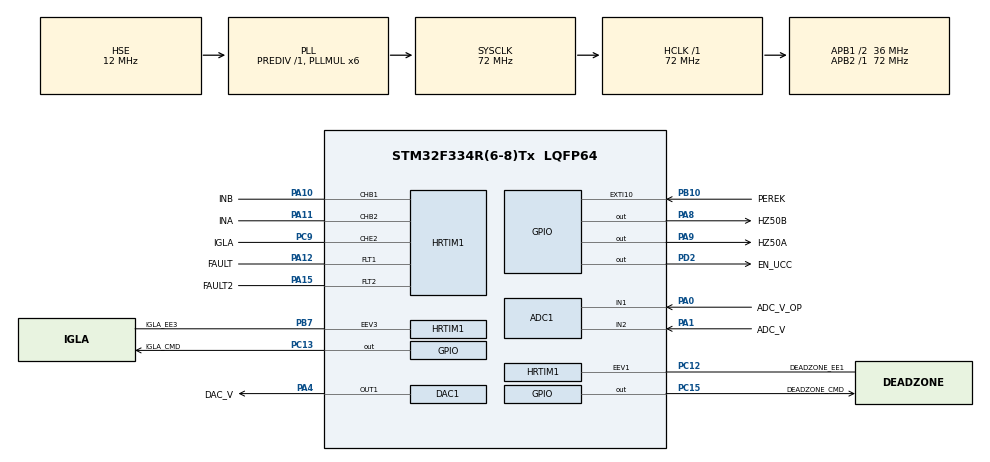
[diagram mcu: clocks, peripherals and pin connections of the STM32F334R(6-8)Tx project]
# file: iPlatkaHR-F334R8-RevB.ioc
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ADC1.AWD2HighThreshold=2000
ADC1.AWD3HighThreshold=3800
ADC1.AWD3ITMode=ENABLE
ADC1.ContinuousConvMode=ENABLE
ADC1.DMAContinuousRequests=ENABLE
ADC1.EOCSelection=ADC_EOC_SEQ_CONV
ADC1.EnableAnalogWatchDog1=false
ADC1.EnableAnalogWatchDog2=true
ADC1.EnableAnalogWatchDog3=true
ADC1.EnableRegularConversion=DISABLE
ADC1.ExternalTrigInjecConv=ADC_EXTERNALTRIGINJECCONV_HRTIM_TRG2
ADC1.InjAWDChannel-1\#ChannelInjectedConversion=ADC_CHANNEL_1
ADC1.InjAWDChannel-2\#ChannelInjectedConversion=ADC_CHANNEL_1
ADC1.InjMonitoredBy-1\#ChannelInjectedConversion=ADC_ANALOGWATCHDOG_2
ADC1.InjMonitoredBy-2\#ChannelInjectedConversion=ADC_ANALOGWATCHDOG_3
ADC1.InjNumberOfConversion=2
ADC1.InjectedChannel-1\#ChannelInjectedConversion=ADC_CHANNEL_1
ADC1.InjectedChannel-2\#ChannelInjectedConversion=ADC_CHANNEL_1
ADC1.InjectedOffset-1\#ChannelInjectedConversion=0
ADC1.InjectedOffset-2\#ChannelInjectedConversion=0
ADC1.InjectedOffsetNumber-1\#ChannelInjectedConversion=ADC_OFFSET_NONE
ADC1.InjectedOffsetNumber-2\#ChannelInjectedConversion=ADC_OFFSET_NONE
ADC1.InjectedRank-1\#ChannelInjectedConversion=1
ADC1.InjectedRank-2\#ChannelInjectedConversion=2
ADC1.InjectedSamplingTime-1\#ChannelInjectedConversion=ADC_SAMPLETIME_19CYCLES_5
ADC1.InjectedSamplingTime-2\#ChannelInjectedConversion=ADC_SAMPLETIME_19CYCLES_5
ADC1.SubFamily=STM32F334x8
ADC1.master=1
DAC1.DAC_Trigger=DAC_TRIGGER_NONE
Dma.ADC1.0.Direction=DMA_PERIPH_TO_MEMORY
Dma.ADC1.0.Instance=DMA1_Channel1
Dma.ADC1.0.MemDataAlignment=DMA_MDATAALIGN_HALFWORD
Dma.ADC1.0.MemInc=DMA_MINC_ENABLE
Dma.ADC1.0.Mode=DMA_CIRCULAR
Dma.ADC1.0.PeriphDataAlignment=DMA_PDATAALIGN_HALFWORD
Dma.ADC1.0.PeriphInc=DMA_PINC_DISABLE
Dma.ADC1.0.Priority=DMA_PRIORITY_VERY_HIGH
Dma.Request0=ADC1
HRTIM1.ADCTrigger2_Source1=HRTIM_ADCTRIGGEREVENT24_TIMERC_CMP3
HRTIM1.ADCTrigger2_Source2=HRTIM_ADCTRIGGEREVENT24_NONE
HRTIM1.ADCTrigger_Id2=HRTIM_ADCTRIGGER_2
HRTIM1.CompareUnit1-MasterTimer=HRTIM_COMPAREUNIT_1
HRTIM1.CompareUnit1-No_output_TC=HRTIM_COMPAREUNIT_1
HRTIM1.CompareUnit1-Output_TB1TB2=HRTIM_COMPAREUNIT_1
HRTIM1.CompareUnit2-MasterTimer=HRTIM_COMPAREUNIT_2
HRTIM1.CompareUnit2-No_output_TC=HRTIM_COMPAREUNIT_2
HRTIM1.CompareUnit2-Output_TB1TB2=HRTIM_COMPAREUNIT_2
HRTIM1.CompareUnit3-MasterTimer=HRTIM_COMPAREUNIT_3
HRTIM1.CompareUnit3-No_output_TC=HRTIM_COMPAREUNIT_3
HRTIM1.CompareUnit3-Output_TB1TB2=__NULL
HRTIM1.CompareUnit4-MasterTimer=HRTIM_COMPAREUNIT_4
HRTIM1.CompareUnit4-No_output_TC=HRTIM_COMPAREUNIT_4
HRTIM1.CompareUnit4-Output_TB1TB2=__NULL
HRTIM1.CompareValue1-MasterTimer=2304
HRTIM1.CompareValue1-No_output_TC=20737
HRTIM1.CompareValue1-Output_TB1TB2=25345
HRTIM1.CompareValue2-MasterTimer=25345
HRTIM1.CompareValue2-No_output_TC=46082
HRTIM1.CompareValue2-Output_TB1TB2=50690
HRTIM1.CompareValue3-MasterTimer=27649
HRTIM1.CompareValue3-No_output_TC=4608
HRTIM1.CompareValue3-Output_TB1TB2=50690
HRTIM1.CompareValue4-MasterTimer=50690
HRTIM1.CompareValue4-No_output_TC=29953
HRTIM1.CompareValue4-Output_TB1TB2=50690
HRTIM1.DACSynchro-MasterTimer=HRTIM_DACSYNC_NONE
HRTIM1.DACSynchro-Output_TB1TB2=HRTIM_DACSYNC_NONE
HRTIM1.EnableCalibration=DLLSimpleCalibration
HRTIM1.Event_EEV2=HRTIM_EVENT_2
HRTIM1.Event_EEV4=__NULL
HRTIM1.Event_EEV5=__NULL
HRTIM1.Event_EEV6=__NULL
HRTIM1.Event_EEV7=__NULL
HRTIM1.Event_EEV8=__NULL
HRTIM1.Event_EEV9=__NULL
HRTIM1.FastMode_EEV1=HRTIM_EVENTFASTMODE_ENABLE
HRTIM1.FastMode_EEV2=HRTIM_EVENTFASTMODE_ENABLE
HRTIM1.FastMode_EEV3=HRTIM_EVENTFASTMODE_ENABLE
HRTIM1.FaultEnable_Source1-No_output_TC=HRTIM_TIMFAULTENABLE_FAULT1
HRTIM1.FaultEnable_Source1-Output_TB1TB2=HRTIM_TIMFAULTENABLE_FAULT1
HRTIM1.FaultEnable_Source1-Output_TE2=HRTIM_TIMFAULTENABLE_FAULT1
HRTIM1.FaultEnable_Source2-No_output_TC=HRTIM_TIMFAULTENABLE_FAULT2
HRTIM1.FaultEnable_Source2-Output_TB1TB2=HRTIM_TIMFAULTENABLE_FAULT2
HRTIM1.FaultEnable_Source2-Output_TE2=HRTIM_TIMFAULTENABLE_FAULT2
HRTIM1.FaultLevel1-Output_TB1TB2=HRTIM_OUTPUTFAULTLEVEL_INACTIVE
HRTIM1.FaultLevel2-Output_TB1TB2=HRTIM_OUTPUTFAULTLEVEL_INACTIVE
HRTIM1.FaultLevel2-Output_TE2=HRTIM_OUTPUTFAULTLEVEL_INACTIVE
HRTIM1.Filter_FaultLine1=HRTIM_FAULTFILTER_15
HRTIM1.Filter_FaultLine2=HRTIM_FAULTFILTER_15
HRTIM1.HRTIMInterruptResquests1=HRTIM_IT_FLT1
HRTIM1.HRTIMInterruptResquests2=HRTIM_IT_SYSFLT
HRTIM1.InterruptRequests1-No_output_TC=HRTIM_TIM_IT_CMP1
HRTIM1.InterruptRequests1-Output_TB1TB2=HRTIM_TIM_IT_NONE
HRTIM1.InterruptRequests1_Master=HRTIM_MASTER_IT_MREP
HRTIM1.InterruptRequests2-No_output_TC=HRTIM_TIM_IT_CMP2
HRTIM1.InterruptRequests2-Output_TB1TB2=HRTIM_TIM_IT_NONE
HRTIM1.ModeTimeBase-MasterTimer=HRTIM_MODE_CONTINUOUS
HRTIM1.ModeTimeBase-No_output_TC=HRTIM_MODE_SINGLESHOT_RETRIGGERABLE
HRTIM1.ModeTimeBase-Output_TB1TB2=HRTIM_MODE_SINGLESHOT_RETRIGGERABLE
HRTIM1.ModeTimeBase-Output_TE2=HRTIM_MODE_SINGLESHOT_RETRIGGERABLE
HRTIM1.NumberADCTriggerSource2=1
HRTIM1.NumberFaultEnable-No_output_TC=2
HRTIM1.NumberFaultEnable-Output_TB1TB2=2
HRTIM1.NumberFaultEnable-Output_TE2=2
HRTIM1.NumberInterruptRequests-No_output_TC=2
HRTIM1.NumberInterruptRequests-Output_TB1TB2=0
HRTIM1.NumberInterruptRequests_Master-MasterTimer=1
HRTIM1.NumberResetSource1-Output_TB1TB2=5
HRTIM1.NumberResetSource2-Output_TE2=1
HRTIM1.NumberResetSource2_TB=3
HRTIM1.NumberResetTrigger-No_output_TC=1
HRTIM1.NumberResetTrigger-Output_TB1TB2=1
HRTIM1.NumberResetTrigger-Output_TE2=1
HRTIM1.NumberSetSource1-Output_TB1TB2=1
HRTIM1.NumberSetSource2-Output_TE2=2
HRTIM1.NumberSetSource2_TB=1
HRTIM1.NumberUpdateTrigger-No_output_TC=1
HRTIM1.NumberUpdateTrigger-Output_TB1TB2=1
HRTIM1.NumberUpdateTrigger-Output_TE2=1
HRTIM1.ORingUpdateSource_ADCTrigger2=HRTIM_ADCTRIGGERUPDATE_TIMER_C
HRTIM1.Periode_MASTER=50690
HRTIM1.Periode_TB=50690
HRTIM1.Periode_TC=50690
HRTIM1.Periode_TE=50690
HRTIM1.Polarity2-Output_TE2=HRTIM_OUTPUTPOLARITY_LOW
HRTIM1.Polarity_EEV1=HRTIM_EVENTPOLARITY_LOW
HRTIM1.Polarity_FaultLine1=HRTIM_FAULTPOLARITY_HIGH
HRTIM1.PreloadEnable-MasterTimer=HRTIM_PRELOAD_ENABLED
HRTIM1.PreloadEnable-No_output_TC=HRTIM_PRELOAD_ENABLED
HRTIM1.PrescalerRatio_MASTER=HRTIM_PRESCALERRATIO_MUL16
HRTIM1.PrescalerRatio_TB=HRTIM_PRESCALERRATIO_MUL16
HRTIM1.PrescalerRatio_TC=HRTIM_PRESCALERRATIO_MUL16
HRTIM1.PrescalerRatio_TE=HRTIM_PRESCALERRATIO_MUL16
HRTIM1.RepetitionCounter-MasterTimer=0
HRTIM1.RepetitionCounter-Output_TB1TB2=0
HRTIM1.RepetitionUpdate-MasterTimer=HRTIM_UPDATEONREPETITION_ENABLED
HRTIM1.RepetitionUpdate-No_output_TC=HRTIM_UPDATEONREPETITION_ENABLED
HRTIM1.RepetitionUpdate-Output_TB1TB2=HRTIM_UPDATEONREPETITION_ENABLED
HRTIM1.RepetitionUpdate-Output_TE2=HRTIM_UPDATEONREPETITION_ENABLED
HRTIM1.ResetOutput1_Source1-Output_TB1TB2=HRTIM_OUTPUTRESET_MASTERCMP2
HRTIM1.ResetOutput1_Source2-Output_TB1TB2=HRTIM_OUTPUTRESET_MASTERCMP3
HRTIM1.ResetOutput1_Source3-Output_TB1TB2=HRTIM_OUTPUTRESET_MASTERCMP4
HRTIM1.ResetOutput1_Source4-Output_TB1TB2=HRTIM_OUTPUTRESET_EEV_1
HRTIM1.ResetOutput1_Source5-Output_TB1TB2=HRTIM_OUTPUTRESET_TIMCMP1
HRTIM1.ResetOutput2_Source1-Output_TB1TB2=HRTIM_OUTPUTRESET_MASTERCMP4
HRTIM1.ResetOutput2_Source1-Output_TE2=HRTIM_OUTPUTRESET_MASTERCMP4
HRTIM1.ResetOutput2_Source2-Output_TB1TB2=HRTIM_OUTPUTRESET_EEV_1
HRTIM1.ResetOutput2_Source3-Output_TB1TB2=HRTIM_OUTPUTRESET_TIMCMP2
HRTIM1.ResetTrigger1-No_output_TC=HRTIM_TIMRESETTRIGGER_MASTER_PER
HRTIM1.ResetTrigger1-Output_TB1TB2=HRTIM_TIMRESETTRIGGER_MASTER_PER
HRTIM1.ResetTrigger1-Output_TE2=HRTIM_TIMRESETTRIGGER_MASTER_PER
HRTIM1.ResetUpdate-No_output_TC=HRTIM_TIMUPDATEONRESET_ENABLED
HRTIM1.ResetUpdate-Output_TB1TB2=HRTIM_TIMUPDATEONRESET_ENABLED
HRTIM1.ResetUpdate-Output_TE2=HRTIM_TIMUPDATEONRESET_ENABLED
HRTIM1.SetOutput1_Source1-Output_TB1TB2=HRTIM_OUTPUTSET_MASTERCMP1
HRTIM1.SetOutput2_Source1-Output_TB1TB2=HRTIM_OUTPUTSET_MASTERCMP3
HRTIM1.SetOutput2_Source1-Output_TE2=HRTIM_OUTPUTSET_EEV_3
HRTIM1.SetOutput2_Source2-Output_TE2=HRTIM_OUTPUTSET_EEV_2
HRTIM1.Source_EEV2=HRTIM_EVENTSRC_4
HRTIM1.SyncOptions=HRTIM_SYNCOPTION_NONE
HRTIM1.UpdateTrigger1-No_output_TC=HRTIM_TIMUPDATETRIGGER_MASTER
HRTIM1.UpdateTrigger1-Output_TB1TB2=HRTIM_TIMUPDATETRIGGER_MASTER
HRTIM1.UpdateTrigger1-Output_TE2=HRTIM_TIMUPDATETRIGGER_MASTER
Mcu.Family=STM32F3
Mcu.Name=STM32F334R(6-8)Tx
Mcu.Package=LQFP64
NVIC.DMA1_Channel1_IRQn=true\:0\:0\:false\:false\:true\:false\:true
NVIC.EXTI15_10_IRQn=true\:0\:0\:false\:false\:true\:true\:true
NVIC.HRTIM1_FLT_IRQn=true\:0\:0\:false\:false\:true\:true\:true
NVIC.HRTIM1_Master_IRQn=true\:0\:0\:false\:false\:true\:true\:true
NVIC.HRTIM1_TIMC_IRQn=true\:0\:0\:false\:false\:true\:true\:true
NVIC.PriorityGroup=NVIC_PRIORITYGROUP_4
PA0.GPIO_Label=ADC_V_OP
PA0.Mode=IN1-Single-Ended
PA0.Signal=ADC1_IN1
PA1.GPIO_Label=ADC_V
PA1.Mode=IN2-Single-Ended
PA1.Signal=ADC1_IN2
PA10.GPIO_Label=INB
PA10.Mode=Output_TB1TB2
PA10.Signal=HRTIM1_CHB1
PA11.GPIO_Label=INA
PA11.Mode=Output_TB1TB2
PA11.Signal=HRTIM1_CHB2
PA12.GPIO_Label=FAULT
PA12.Mode=Fault_Enable1
PA12.Signal=HRTIM1_FLT1
PA13.GPIO_Label=DIO
PA13.Mode=Serial_Wire
PA13.Signal=SYS_JTMS-SWDIO
PA14.GPIO_Label=CLK
PA14.Mode=Serial_Wire
PA14.Signal=SYS_JTCK-SWCLK
PA15.GPIO_Label=FAULT2
PA15.Mode=Fault_Enable2
PA15.Signal=HRTIM1_FLT2
PA4.GPIO_Label=DAC_V
PA4.Signal=COMP_DAC11_group
PA8.GPIO_Label=HZ50B
PA8.GPIO_Speed=GPIO_SPEED_FREQ_HIGH
PA8.Signal=GPIO_Output
PA9.GPIO_Label=HZ50A
PA9.GPIO_Speed=GPIO_SPEED_FREQ_HIGH
PA9.Signal=GPIO_Output
PB10.GPIO_Label=PEREK
PB10.GPIO_ModeDefaultEXTI=GPIO_MODE_IT_RISING_FALLING
PB10.Signal=GPXTI10
PB7.GPIO_Label=IGLA_EE3
PB7.Mode=External_Evt_enable13
PB7.Signal=HRTIM1_EEV3
PC12.GPIO_Label=DEADZONE_EE1
PC12.Mode=External_Evt_enable1
PC12.Signal=HRTIM1_EEV1
PC13.GPIO_Label=IGLA_CMD
PC13.Signal=GPIO_Output
PC15\ /\ OSC32_OUT.GPIO_Label=DEADZONE_CMD
PC15\ /\ OSC32_OUT.GPIO_Speed=GPIO_SPEED_FREQ_HIGH
PC15\ /\ OSC32_OUT.PinState=GPIO_PIN_RESET
PC15\ /\ OSC32_OUT.Signal=GPIO_Output
PC9.GPIO_Label=IGLA
PC9.Mode=Output_TE2
PC9.Signal=HRTIM1_CHE2
PD2.GPIO_Label=EN_UCC
PD2.GPIO_Speed=GPIO_SPEED_FREQ_HIGH
PD2.Signal=GPIO_Output
PF0\ /\ OSC_IN.GPIO_Label=OSC_IN
PF0\ /\ OSC_IN.Mode=HSE-External-Oscillator
PF0\ /\ OSC_IN.Signal=RCC_OSC_IN
PF1\ /\ OSC_OUT.GPIO_Label=OSC_OUT
PF1\ /\ OSC_OUT.Mode=HSE-External-Oscillator
PF1\ /\ OSC_OUT.Signal=RCC_OSC_OUT
ProjectManager.HeapSize=0x200
ProjectManager.StackSize=0x400
ProjectManager.TargetToolchain=STM32CubeIDE
RCC.AHBFreq_Value=72000000
RCC.APB1CLKDivider=RCC_HCLK_DIV2
RCC.APB1Freq_Value=36000000
RCC.APB1TimFreq_Value=72000000
RCC.APB2Freq_Value=72000000
RCC.APB2TimFreq_Value=72000000
RCC.CortexFreq_Value=72000000
RCC.HCLKFreq_Value=72000000
RCC.HRTIMSelection=RCC_HRTIM1CLK_PLLCLK
RCC.HSE_VALUE=12000000
RCC.HSI_VALUE=8000000
RCC.LSE_VALUE=32768
RCC.PLLMUL=RCC_PLL_MUL6
RCC.PLLSourceVirtual=RCC_PLLSOURCE_HSE
RCC.SYSCLKFreq_VALUE=72000000
RCC.SYSCLKSourceVirtual=RCC_SYSCLKSOURCE_PLLCLK
RCC.TIM1Selection=RCC_TIM1CLK_PLLCLK
SH.COMP_DAC11_group.0=DAC1_OUT1,DAC_OUT1
VP_HRTIM1_VS_hrtimMasterTimerNoOutput.Mode=MasterTimer
VP_HRTIM1_VS_hrtimTimerCNoOutput.Mode=No_output_TC
board=custom

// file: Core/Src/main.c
/* USER CODE BEGIN Header */
/**
  ******************************************************************************
  * @file           : main.c
  * @brief          : Main program body
  ******************************************************************************
  * @attention
  *
  * <h2><center>&copy; Copyright (c) 2020 STMicroelectronics.
  * All rights reserved.</center></h2>
  *
  * This software component is licensed by ST under BSD 3-Clause license,
  * the "License"; You may not use this file except in compliance with the
  * License. You may obtain a copy of the License at:
  *                        opensource.org/licenses/BSD-3-Clause
  *
  ******************************************************************************
  */
/* USER CODE END Header */

#include "main.h"
#include "adc.h"
#include "dac.h"
#include "dma.h"
#include "hrtim.h"
#include "gpio.h"

/* USER CODE BEGIN PTD */
#define PULSE_TOTAL_LENGTH 25345
#define PULSE_DEATHTIME 2304
#define PULSE_LENGTH 23041

#define SOFTSTART_STEP 1
#define SOFTSTART_STEP_MAX 100

#define VOLUME_MAX 100

#define HZ50_AB 225
#define HZ50_DEADZONE 5

#define SIN_ZER0 2
#define PULSE_IN_WAVE 450
#define PULSE_IN_DEATHZONE 5

#define DAC_PULSE_CNT 910//(uint16_t) (2*PULSE_IN_WAVE+2*PULSE_IN_DEATHZONE)

#define MAX_SIN_TABLE_VALUE 3500

enum HZ_State{AZone1, AZone2, BZone1, BZone2, DeadZoneAB, DeadZoneBA};
/* USER CODE END PTD */

/* USER CODE BEGIN PV */
uint8_t UseVolume=0;
uint8_t Volume_Coeff=0;

uint8_t UseSoftStart=0;
uint8_t SoftStart_Coeff=0;

uint32_t tmp_etalon=0;
uint32_t tmp_orig=0;
uint32_t tmp_etalon_amplitude=MAX_SIN_TABLE_VALUE;
uint32_t tmp_pulse=0;

enum HZ_State HZ50_State=AZone1;

uint16_t Sin_Step=0;

uint16_t Sin_Etalon[DAC_PULSE_CNT]={0, 12, 24, 37, 49, 61, 73, 86, 98, 110, 122, 134, 147, 159, 171, 183, 195,
		208, 220, 232, 244, 256, 269, 281, 293, 305, 317, 329, 342, 354, 366, 378, 390, 402, 414, 427, 439,
		451, 463, 475, 487, 499, 511, 523, 535, 548, 560, 572, 584, 596, 608, 620, 632, 644, 656, 668, 680,
		692, 704, 716, 728, 740, 752, 764, 775, 787, 799, 811, 823, 835, 847, 859, 870, 882, 894, 906, 918,
		929, 941, 953, 965, 976, 988, 1000, 1012, 1023, 1035, 1047, 1058, 1070, 1082, 1093, 1105, 1116, 1128,
		1139, 1151, 1163, 1174, 1186, 1197, 1209, 1220, 1231, 1243, 1254, 1266, 1277, 1288, 1300, 1311, 1322,
		1334, 1345, 1356, 1368, 1379, 1390, 1401, 1412, 1424, 1435, 1446, 1457, 1468, 1479, 1490, 1501, 1512,
		1523, 1534, 1545, 1556, 1567, 1578, 1589, 1600, 1611, 1622, 1632, 1643, 1654, 1665, 1675, 1686, 1697,
		1708, 1718, 1729, 1739, 1750, 1761, 1771, 1782, 1792, 1803, 1813, 1824, 1834, 1844, 1855, 1865, 1875,
		1886, 1896, 1906, 1916, 1927, 1937, 1947, 1957, 1967, 1977, 1987, 1997, 2008, 2018, 2027, 2037, 2047,
		2057, 2067, 2077, 2087, 2097, 2106, 2116, 2126, 2136, 2145, 2155, 2164, 2174, 2184, 2193, 2203, 2212,
		2222, 2231, 2240, 2250, 2259, 2268, 2278, 2287, 2296, 2305, 2315, 2324, 2333, 2342, 2351, 2360, 2369,
		2378, 2387, 2396, 2405, 2414, 2423, 2431, 2440, 2449, 2458, 2466, 2475, 2483, 2492, 2501, 2509, 2518,
		2526, 2535, 2543, 2551, 2560, 2568, 2576, 2585, 2593, 2601, 2609, 2617, 2625, 2633, 2641, 2649, 2657,
		2665, 2673, 2681, 2689, 2697, 2705, 2712, 2720, 2728, 2735, 2743, 2750, 2758, 2766, 2773, 2780, 2788,
		2795, 2803, 2810, 2817, 2824, 2832, 2839, 2846, 2853, 2860, 2867, 2874, 2881, 2888, 2895, 2902, 2908,
		2915, 2922, 2929, 2935, 2942, 2949, 2955, 2962, 2968, 2975, 2981, 2987, 2994, 3000, 3006, 3013, 3019,
		3025, 3031, 3037, 3043, 3049, 3055, 3061, 3067, 3073, 3079, 3085, 3090, 3096, 3102, 3107, 3113, 3119,
		3124, 3130, 3135, 3140, 3146, 3151, 3156, 3162, 3167, 3172, 3177, 3182, 3187, 3192, 3197, 3202, 3207,
		3212, 3217, 3222, 3227, 3231, 3236, 3241, 3245, 3250, 3254, 3259, 3263, 3268, 3272, 3276, 3280, 3285,
		3289, 3293, 3297, 3301, 3305, 3309, 3313, 3317, 3321, 3325, 3329, 3332, 3336, 3340, 3343, 3347, 3351,
		3354, 3358, 3361, 3364, 3368, 3371, 3374, 3378, 3381, 3384, 3387, 3390, 3393, 3396, 3399, 3402, 3405,
		3408, 3410, 3413, 3416, 3418, 3421, 3424, 3426, 3429, 3431, 3433, 3436, 3438, 3440, 3443, 3445, 3447,
		3449, 3451, 3453, 3455, 3457, 3459, 3461, 3462, 3464, 3466, 3468, 3469, 3471, 3472, 3474, 3475, 3477,
		3478, 3480, 3481, 3482, 3483, 3484, 3486, 3487, 3488, 3489, 3490, 3491, 3491, 3492, 3493, 3494, 3495,
		3495, 3496, 3496, 3497, 3497, 3498, 3498, 3499, 3499, 3499, 3499, 3500, 3500, 3500, 3500, 3500, 3500,
		3500, 3500, 3500, 3499, 3499, 3499, 3499, 3498, 3498, 3497, 3497, 3496, 3496, 3495, 3495, 3494, 3493,
		3492, 3491, 3491, 3490, 3489, 3488, 3487, 3486, 3484, 3483, 3482, 3481, 3480, 3478, 3477, 3475, 3474,
		3472, 3471, 3469, 3468, 3466, 3464, 3462, 3461, 3459, 3457, 3455, 3453, 3451, 3449, 3447, 3445, 3443,
		3440, 3438, 3436, 3433, 3431, 3429, 3426, 3424, 3421, 3418, 3416, 3413, 3410, 3408, 3405, 3402, 3399,
		3396, 3393, 3390, 3387, 3384, 3381, 3378, 3374, 3371, 3368, 3364, 3361, 3358, 3354, 3351, 3347, 3343,
		3340, 3336, 3332, 3329, 3325, 3321, 3317, 3313, 3309, 3305, 3301, 3297, 3293, 3289, 3285, 3280, 3276,
		3272, 3268, 3263, 3259, 3254, 3250, 3245, 3241, 3236, 3231, 3227, 3222, 3217, 3212, 3207, 3202, 3197,
		3192, 3187, 3182, 3177, 3172, 3167, 3162, 3156, 3151, 3146, 3140, 3135, 3130, 3124, 3119, 3113, 3107,
		3102, 3096, 3090, 3085, 3079, 3073, 3067, 3061, 3055, 3049, 3043, 3037, 3031, 3025, 3019, 3013, 3006,
		3000, 2994, 2987, 2981, 2975, 2968, 2962, 2955, 2949, 2942, 2935, 2929, 2922, 2915, 2908, 2902, 2895,
		2888, 2881, 2874, 2867, 2860, 2853, 2846, 2839, 2832, 2824, 2817, 2810, 2803, 2795, 2788, 2780, 2773,
		2766, 2758, 2750, 2743, 2735, 2728, 2720, 2712, 2705, 2697, 2689, 2681, 2673, 2665, 2657, 2649, 2641,
		2633, 2625, 2617, 2609, 2601, 2593, 2585, 2576, 2568, 2560, 2551, 2543, 2535, 2526, 2518, 2509, 2501,
		2492, 2483, 2475, 2466, 2458, 2449, 2440, 2431, 2423, 2414, 2405, 2396, 2387, 2378, 2369, 2360, 2351,
		2342, 2333, 2324, 2315, 2305, 2296, 2287, 2278, 2268, 2259, 2250, 2240, 2231, 2222, 2212, 2203, 2193,
		2184, 2174, 2164, 2155, 2145, 2136, 2126, 2116, 2106, 2097, 2087, 2077, 2067, 2057, 2047, 2037, 2027,
		2018, 2008, 1997, 1987, 1977, 1967, 1957, 1947, 1937, 1927, 1916, 1906, 1896, 1886, 1875, 1865, 1855,
		1844, 1834, 1824, 1813, 1803, 1792, 1782, 1771, 1761, 1750, 1739, 1729, 1718, 1708, 1697, 1686, 1675,
		1665, 1654, 1643, 1632, 1622, 1611, 1600, 1589, 1578, 1567, 1556, 1545, 1534, 1523, 1512, 1501, 1490,
		1479, 1468, 1457, 1446, 1435, 1424, 1412, 1401, 1390, 1379, 1368, 1356, 1345, 1334, 1322, 1311, 1300,
		1288, 1277, 1266, 1254, 1243, 1231, 1220, 1209, 1197, 1186, 1174, 1163, 1151, 1139, 1128, 1116, 1105,
		1093, 1082, 1070, 1058, 1047, 1035, 1023, 1012, 1000, 988, 976, 965, 953, 941, 929, 918, 906, 894, 882,
		870, 859, 847, 835, 823, 811, 799, 787, 775, 764, 752, 740, 728, 716, 704, 692, 680, 668, 656, 644, 632,
		620, 608, 596, 584, 572, 560, 548, 535, 523, 511, 499, 487, 475, 463, 451, 439, 427, 414, 402, 390, 378,
		366, 354, 342, 329, 317, 305, 293, 281, 269, 256, 244, 232, 220, 208, 195, 183, 171, 159, 147, 134, 122,
		110, 98, 86, 73, 61, 49, 37, 24, 12, 0, 0, 0 ,0 ,0 ,0 ,0 ,0 ,0 ,0};

uint16_t ADC_V_op_data=0;
uint16_t ADC_V_data=0;

/* USER CODE END PV */

void SystemClock_Config(void);

/* USER CODE BEGIN 0 */

void SetMaxVolume(void)
{
	UseVolume=1;
	Volume_Coeff=VOLUME_MAX;
}

void PlusVolume(void)
{
	UseVolume=1;
	Volume_Coeff=Volume_Coeff+1;
	if (Volume_Coeff>VOLUME_MAX) {
		Volume_Coeff=VOLUME_MAX;
	}
}

void MinusVolume(void)
{
	if (UseVolume==1) {
		if (Volume_Coeff==0) {
			UseVolume=0;
		} else {
			Volume_Coeff--;
		}
	}
}

void CheckSoftStart(void)
{
	if (UseSoftStart==1) {
			SoftStart_Coeff=SoftStart_Coeff+SOFTSTART_STEP;
			if (SoftStart_Coeff>=SOFTSTART_STEP_MAX) {
				UseSoftStart=0;
				SoftStart_Coeff=0;
			}
	}
}

void DAC_V(void)
{
	if (Sin_Step>=DAC_PULSE_CNT) {
		Sin_Step=1;
	}

	tmp_orig=Sin_Etalon[Sin_Step-1];
	tmp_etalon=tmp_orig;
	tmp_etalon_amplitude=MAX_SIN_TABLE_VALUE;

	if (UseSoftStart==1) {
		tmp_etalon=(tmp_etalon*SoftStart_Coeff)/SOFTSTART_STEP_MAX;
		tmp_etalon_amplitude=(tmp_etalon_amplitude*SoftStart_Coeff)/SOFTSTART_STEP_MAX;
	}

	if (UseVolume==1) {
		tmp_etalon=(tmp_etalon*(Volume_Coeff+VOLUME_MAX))/VOLUME_MAX;
		if (tmp_etalon>=MAX_SIN_TABLE_VALUE) {
			tmp_etalon=MAX_SIN_TABLE_VALUE;
		}

		tmp_etalon_amplitude=(tmp_etalon_amplitude*(Volume_Coeff+VOLUME_MAX))/VOLUME_MAX;
	}

	if ((UseSoftStart==1) || (UseVolume==1)) {
		if (tmp_etalon_amplitude>=MAX_SIN_TABLE_VALUE) {
			tmp_etalon_amplitude=MAX_SIN_TABLE_VALUE;
		}
	}

	HAL_DAC_SetValue(&hdac1,DAC_CHANNEL_1,DAC_ALIGN_12B_R,tmp_etalon);
}

void IGLAflagSET(void)
{
	GPIOC->BRR = GPIO_BRR_BR_13;
}

void IGLAflagRESET(void)
{
	GPIOC->BSRR = GPIO_BSRR_BS_13;
}

void DEADZONEflagRESET(void)
{
	GPIOC->BSRR = GPIO_BSRR_BS_15;
}

void DEADZONEflagSET(void)
{
	GPIOC->BRR = GPIO_BRR_BR_15;
}

void UCCdrvOFF(void)
{
	GPIOD->BRR = GPIO_BRR_BR_2;
}

void UCCdrvON(void)
{
	GPIOD->BSRR = GPIO_BSRR_BS_2;
}

void OutputOFF(void)
{
	HRTIM1->sCommonRegs.ODISR = HRTIM_ODISR_TB1ODIS  + HRTIM_ODISR_TB2ODIS;
	HRTIM1->sCommonRegs.OENR = HRTIM_OENR_TE2OEN;

}

void OutputON(void)
{
	HRTIM1->sCommonRegs.OENR = HRTIM_OENR_TB1OEN  + HRTIM_OENR_TB2OEN + HRTIM_OENR_TE2OEN;
}

void HZ50_OFF(void)
{
	 GPIOA->BRR = GPIO_BRR_BR_8;
	 GPIOA->BRR = GPIO_BRR_BR_9;
}

void HZ50_BON(void)
{
	 GPIOA->BRR = GPIO_BRR_BR_8;
	 GPIOA->BSRR = GPIO_BSRR_BS_9;
}

void HZ50_AON(void)
{
	 GPIOA->BRR = GPIO_BRR_BR_9;
	 GPIOA->BSRR = GPIO_BSRR_BS_8;
}

void HZ50_Stop(void) {
	HZ50_OFF();

	//
	UCCdrvOFF();

	DEADZONEflagSET();

	OutputOFF();
	HAL_HRTIM_WaveformCountStop_IT(&hhrtim1, HRTIM_TIMERID_MASTER | HRTIM_TIMERID_TIMER_B
			| HRTIM_TIMERID_TIMER_E | HRTIM_TIMERID_TIMER_C );

	IGLAflagRESET(); // off IGLA

	Sin_Step=0;
	DAC_V();

	UseSoftStart=0;
}

void HZ50_Start(void)
{
	  Sin_Step=0;
	  DAC_V();

	  HZ50_State=DeadZoneBA; // curr zone

	  HAL_HRTIM_RepetitionEventCallback(&hhrtim1,HRTIM_TIMERINDEX_MASTER);

	  HAL_HRTIM_WaveformCountStart_IT(&hhrtim1, HRTIM_TIMERID_MASTER | HRTIM_TIMERID_TIMER_B
			  | HRTIM_TIMERID_TIMER_E | HRTIM_TIMERID_TIMER_C);

	  UCCdrvON();
	  DEADZONEflagRESET();

	  IGLAflagRESET(); // off IGLA
}

void HAL_GPIO_EXTI_Callback(uint16_t GPIO_Pin)
{
	if(GPIO_Pin== PEREK_Pin) {
		__HAL_GPIO_EXTI_CLEAR_IT(PEREK_Pin);
		if ((HAL_GPIO_ReadPin(PEREK_GPIO_Port,PEREK_Pin)==GPIO_PIN_RESET)) {
			HZ50_Start();
		} else {
			HZ50_Stop();
		}
	 }
}

void HAL_HRTIM_Compare1EventCallback(HRTIM_HandleTypeDef *hhrtim,
                                            uint32_t TimerIdx)
{
	//if (TimerIdx==HRTIM_TIMERINDEX_TIMER_C) {
		Sin_Step++;
		DAC_V();
	//}

	ADC_V_op_data=HAL_ADCEx_InjectedGetValue(&hadc1, ADC_INJECTED_RANK_1);
	ADC_V_data=HAL_ADCEx_InjectedGetValue(&hadc1, ADC_INJECTED_RANK_2);

	tmp_pulse=(uint32_t)((tmp_orig*PULSE_LENGTH)/MAX_SIN_TABLE_VALUE); // max pulse

	if (UseSoftStart==1) {
		tmp_pulse=(uint32_t)((tmp_pulse*SoftStart_Coeff)/SOFTSTART_STEP_MAX);
	}

	if (UseVolume==1) {
		tmp_pulse=(uint32_t)((tmp_pulse*(Volume_Coeff+VOLUME_MAX))/VOLUME_MAX);
	}

	//ADC
	/*if (ADC_V_op_data>500) {
		cur_reg_step=cur_reg_step+reg_step;
	} else {
		if (cur_reg_step>=reg_step) {
			cur_reg_step=cur_reg_step-reg_step;
		}
	}*/

	if ((ADC_V_op_data>0) && (ADC_V_data>tmp_orig)) {
			tmp_pulse=(uint32_t)((tmp_pulse*ADC_V_op_data)/4096);
	}

	/*if ((ADC_V_op_data>=4095) && (ADC_V_data>tmp_orig) && (tmp_orig!=0)) {
		tmp_pulse=(uint32_t)((tmp_pulse*tmp_orig)/ADC_V_data);
	}*/

	if (tmp_pulse>=PULSE_LENGTH) {
		tmp_pulse=PULSE_LENGTH;
	}

	if ((tmp_pulse<=PULSE_DEATHTIME) || (tmp_orig==0)) {
		tmp_pulse=0;
	}

	/*if (ADC_V_op_data>=100) {
		//tmp_pulse=(uint32_t)((tmp_etalon*PULSE_LENGTH)/tmp_etalon_amplitude);
		tmp_pulse=PULSE_LENGTH;
		tmp_pulse=(tmp_pulse*ADC_V_data)/(1000);
	} else {
		tmp_pulse=PULSE_LENGTH;
	}*/

	HRTIM1->sTimerxRegs[1].CMP1xR=PULSE_DEATHTIME+tmp_pulse;
	HRTIM1->sTimerxRegs[1].CMP2xR=PULSE_TOTAL_LENGTH+HRTIM1->sTimerxRegs[1].CMP1xR;

	//HRTIM1->sTimerxRegs[1].CMP1xR=PULSE_DEATHTIME+(uint32_t)((tmp_etalon*PULSE_LENGTH)/tmp_etalon_amplitude);
	//HRTIM1->sTimerxRegs[1].CMP2xR=PULSE_TOTAL_LENGTH+HRTIM1->sTimerxRegs[1].CMP1xR;
}

void HAL_HRTIM_Compare2EventCallback(HRTIM_HandleTypeDef *hhrtim,
                                            uint32_t TimerIdx)
{
	//if (TimerIdx==HRTIM_TIMERINDEX_TIMER_C) {
		Sin_Step++;
		DAC_V();
	//}

	//ADC_V_op_data=HAL_ADCEx_InjectedGetValue(&hadc1, ADC_INJECTED_RANK_1);
	//ADC_V_data=HAL_ADCEx_InjectedGetValue(&hadc1, ADC_INJECTED_RANK_2);
}

void HAL_ADC_LevelOutOfWindowCallback(ADC_HandleTypeDef* hadc)
{
	IGLAflagSET(); // off IGLA
}

void HAL_HRTIM_RepetitionEventCallback(HRTIM_HandleTypeDef *hhrtim,
                                              uint32_t TimerIdx)
{
	if (TimerIdx==HRTIM_TIMERINDEX_MASTER) {
		switch(HZ50_State) {
				case DeadZoneBA:
					HZ50_State=AZone1; // curr zone
					HRTIM1->sMasterRegs.MREP=HZ50_DEADZONE;
					HZ50_AON();
					OutputON();
					UCCdrvON();

					DEADZONEflagRESET(); // reset
					break;

				case BZone1:
					HZ50_State=BZone2; // curr zone
					HRTIM1->sMasterRegs.MREP=HZ50_AB;
					break;
				case BZone2:
					UCCdrvOFF();
					HZ50_OFF();
					OutputOFF();

					DEADZONEflagSET(); // set

					HZ50_State=DeadZoneBA; // curr zone
					HRTIM1->sMasterRegs.MREP=HZ50_AB;

					Sin_Step=0;
					CheckSoftStart();
					MinusVolume();
					break;

				case DeadZoneAB:
					HZ50_State=BZone1; // curr zone
					HRTIM1->sMasterRegs.MREP=HZ50_DEADZONE;
					HZ50_BON();
					OutputON();
					UCCdrvON();

					DEADZONEflagRESET(); // reset
					break;

				case AZone1:
					HZ50_State=AZone2; // curr zone
					HRTIM1->sMasterRegs.MREP=HZ50_AB;
					break;
				case AZone2:
					UCCdrvOFF();
					HZ50_OFF();
					OutputOFF();

					DEADZONEflagSET(); // set

					HZ50_State=DeadZoneAB; // curr zone
					HRTIM1->sMasterRegs.MREP=HZ50_AB;

					Sin_Step=0;
					//CheckSoftStart();
					break;
			}
	}
}

/* USER CODE END 0 */

int main(void)
{

  /* MCU Configuration--------------------------------------------------------*/

  /* Reset of all peripherals, Initializes the Flash interface and the Systick. */
  HAL_Init();

  /* Configure the system clock */
  SystemClock_Config();

  /* Initialize all configured peripherals */
  MX_GPIO_Init();
  MX_DMA_Init();
  MX_HRTIM1_Init();
  MX_DAC1_Init();
  MX_ADC1_Init();
  /* USER CODE BEGIN 2 */
  HAL_DAC_Start(&hdac1,DAC_CHANNEL_1);
  UseSoftStart=1;
  //SetMaxVolume();

  HAL_ADCEx_InjectedStart(&hadc1);

  HAL_GPIO_EXTI_Callback(PEREK_Pin);
  /* USER CODE END 2 */

  /* Infinite loop */
  while (1)
  {

  }
}

void SystemClock_Config(void)
{
  RCC_OscInitTypeDef RCC_OscInitStruct = {0};
  RCC_ClkInitTypeDef RCC_ClkInitStruct = {0};
  RCC_PeriphCLKInitTypeDef PeriphClkInit = {0};

  /** Initializes the CPU, AHB and APB busses clocks
  */
  RCC_OscInitStruct.OscillatorType = RCC_OSCILLATORTYPE_HSE;
  RCC_OscInitStruct.HSEState = RCC_HSE_ON;
  RCC_OscInitStruct.HSEPredivValue = RCC_HSE_PREDIV_DIV1;
  RCC_OscInitStruct.HSIState = RCC_HSI_ON;
  RCC_OscInitStruct.PLL.PLLState = RCC_PLL_ON;
  RCC_OscInitStruct.PLL.PLLSource = RCC_PLLSOURCE_HSE;
  RCC_OscInitStruct.PLL.PLLMUL = RCC_PLL_MUL6;
  if (HAL_RCC_OscConfig(&RCC_OscInitStruct) != HAL_OK)
  {
    Error_Handler();
  }
  /** Initializes the CPU, AHB and APB busses clocks
  */
  RCC_ClkInitStruct.ClockType = RCC_CLOCKTYPE_HCLK|RCC_CLOCKTYPE_SYSCLK
                              |RCC_CLOCKTYPE_PCLK1|RCC_CLOCKTYPE_PCLK2;
  RCC_ClkInitStruct.SYSCLKSource = RCC_SYSCLKSOURCE_PLLCLK;
  RCC_ClkInitStruct.AHBCLKDivider = RCC_SYSCLK_DIV1;
  RCC_ClkInitStruct.APB1CLKDivider = RCC_HCLK_DIV2;
  RCC_ClkInitStruct.APB2CLKDivider = RCC_HCLK_DIV1;

  if (HAL_RCC_ClockConfig(&RCC_ClkInitStruct, FLASH_LATENCY_2) != HAL_OK)
  {
    Error_Handler();
  }
  PeriphClkInit.PeriphClockSelection = RCC_PERIPHCLK_HRTIM1|RCC_PERIPHCLK_ADC12;
  PeriphClkInit.Adc12ClockSelection = RCC_ADC12PLLCLK_DIV1;
  PeriphClkInit.Hrtim1ClockSelection = RCC_HRTIM1CLK_PLLCLK;
  if (HAL_RCCEx_PeriphCLKConfig(&PeriphClkInit) != HAL_OK)
  {
    Error_Handler();
  }
}

void Error_Handler(void)
{
}

/************************ (C) COPYRIGHT STMicroelectronics *****END OF FILE****/
